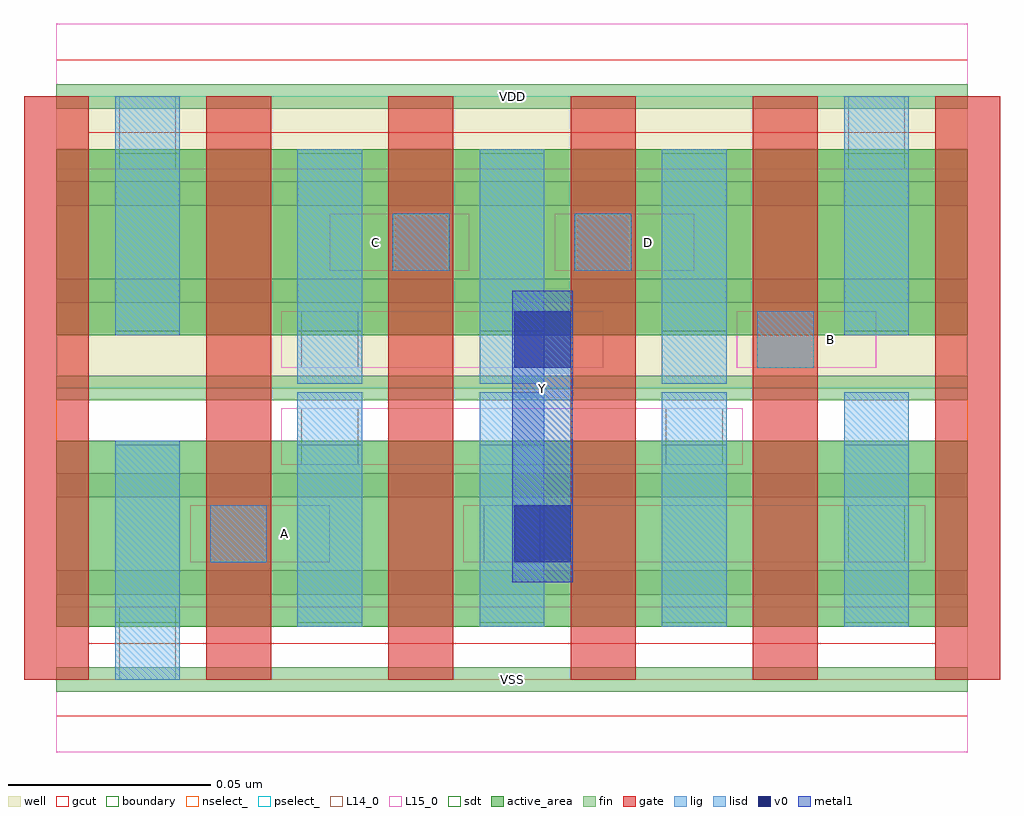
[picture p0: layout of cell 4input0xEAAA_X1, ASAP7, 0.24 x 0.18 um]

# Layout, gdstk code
import gdstk
lib = gdstk.Library(unit=1e-6, precision=2.5e-10)
def R(c, l, rs):  # rectangles x0, y0, x1, y1
    for r in rs: c.add(gdstk.rectangle(r[:2], r[2:], *l))
def A(c, l, x, y, w, h, nx, ny, dx, dy):  # array of equal rectangles
    R(c, l, [(x+i*dx, y+j*dy, x+i*dx+w, y+j*dy+h) for i in range(nx) for j in range(ny)])
def P(c, l, *ps):  # polygons
    for p in ps: c.add(gdstk.Polygon(p, *l))
well = (1, 0)
fin = (2, 0)
gate = (7, 0)
gcut = (10, 0)
active_area = (11, 0)
nselect_ = (12, 0)
pselect_ = (13, 0)
L14_0 = (14, 0)
L15_0 = (15, 0)
lig = (16, 0)
lisd = (17, 0)
v0 = (18, 0)
metal1 = (19, 0)
sdt = (88, 0)
boundary = (100, 0)

c_4input0xeaaa_x1 = lib.new_cell('4input0xEAAA_X1')
R(c_4input0xeaaa_x1, well, [(0,0.072,0.225,0.144)])
A(c_4input0xeaaa_x1, fin, 0, -0.003, 0.225, 0.006, 1, 7, 0, 0.024)
A(c_4input0xeaaa_x1, gate, -0.008, 0, 0.016, 0.144, 6, 1, 0.045, 0)
P(c_4input0xeaaa_x1, gcut, [(0,-0.009),(0,0),(-0.008,0),(-0.008,0.135),(0.008,0.135),(0.008,0.009),(0.217,0.009),(0.217,0.135),(-0.008,0.135),(-0.008,0.144),(0,0.144),(0,0.153),(0.225,0.153),(0.225,0.144),(0.233,0.144),(0.233,0),(0.225,0),(0.225,-0.009)])
R(c_4input0xeaaa_x1, active_area, [(0,0.013,0.225,0.059), (0,0.085,0.225,0.131)])
R(c_4input0xeaaa_x1, nselect_, [(0,0,0.225,0.072)])
R(c_4input0xeaaa_x1, pselect_, [(0,0.072,0.225,0.144)])
R(c_4input0xeaaa_x1, L14_0, [(0.0155,0,0.0295,0.018), (0.038,0.029,0.052,0.043), (0.1055,0.029,0.1195,0.043), (0.1955,0.029,0.2095,0.043), (0.0605,0.053,0.0745,0.067), (0.1505,0.053,0.1645,0.067), (0.0605,0.077,0.0745,0.091), (0.173,0.077,0.187,0.091), (0.083,0.101,0.097,0.115), (0.128,0.101,0.142,0.115), (0.0155,0.126,0.0295,0.144), (0.1955,0.126,0.2095,0.144)])
R(c_4input0xeaaa_x1, L15_0, [(0,-0.018,0.225,0.018), (0.033,0.029,0.0675,0.043), (0.1005,0.029,0.2145,0.043), (0.0555,0.053,0.1695,0.067), (0.0555,0.077,0.135,0.091), (0.168,0.077,0.2025,0.091), (0.0675,0.101,0.102,0.115), (0.123,0.101,0.1575,0.115), (0,0.126,0.225,0.162)])
R(c_4input0xeaaa_x1, lig, [(0.038,0.029,0.052,0.043), (0.173,0.077,0.187,0.091), (0.083,0.101,0.097,0.115), (0.128,0.101,0.142,0.115)])
A(c_4input0xeaaa_x1, lisd, 0.0595, 0.013, 0.016, 0.058, 4, 1, 0.045, 0)
A(c_4input0xeaaa_x1, lisd, 0.0595, 0.073, 0.016, 0.058, 3, 1, 0.045, 0)
R(c_4input0xeaaa_x1, lisd, [(0.0145,0,0.0305,0.059), (0.0145,0.085,0.0305,0.144), (0.1945,0.085,0.2105,0.144)])
R(c_4input0xeaaa_x1, v0, [(0.113,0.029,0.127,0.043), (0.113,0.077,0.127,0.091)])
R(c_4input0xeaaa_x1, metal1, [(0.1125,0.024,0.1275,0.096)])
A(c_4input0xeaaa_x1, sdt, 0.0145, 0.014, 0.016, 0.044, 5, 2, 0.045, 0.072)
R(c_4input0xeaaa_x1, boundary, [(0,0,0.225,0.144)])
c_4input0xeaaa_x1.add(gdstk.Label('C', (0.0788,0.108), layer=15, texttype=251))
c_4input0xeaaa_x1.add(gdstk.Label('VSS', (0.1125,0), layer=15, texttype=251))
c_4input0xeaaa_x1.add(gdstk.Label('VDD', (0.1125,0.144), layer=15, texttype=251))
c_4input0xeaaa_x1.add(gdstk.Label('VSS', (0.1125,0), layer=15, texttype=251))
c_4input0xeaaa_x1.add(gdstk.Label('VDD', (0.1125,0.144), layer=15, texttype=251))
c_4input0xeaaa_x1.add(gdstk.Label('D', (0.1462,0.108), layer=15, texttype=251))
c_4input0xeaaa_x1.add(gdstk.Label('VSS', (0.1125,0), layer=15, texttype=251))
c_4input0xeaaa_x1.add(gdstk.Label('VDD', (0.1125,0.144), layer=15, texttype=251))
c_4input0xeaaa_x1.add(gdstk.Label('B', (0.1913,0.084), layer=15, texttype=251))
c_4input0xeaaa_x1.add(gdstk.Label('VSS', (0.1125,0), layer=15, texttype=251))
c_4input0xeaaa_x1.add(gdstk.Label('VDD', (0.1125,0.144), layer=15, texttype=251))
c_4input0xeaaa_x1.add(gdstk.Label('A', (0.0563,0.036), layer=15, texttype=251))
c_4input0xeaaa_x1.add(gdstk.Label('VSS', (0.1125,0), layer=15, texttype=251))
c_4input0xeaaa_x1.add(gdstk.Label('VDD', (0.1125,0.144), layer=15, texttype=251))
c_4input0xeaaa_x1.add(gdstk.Label('VSS', (0.1125,0), layer=3, texttype=251))
c_4input0xeaaa_x1.add(gdstk.Label('VSS', (0.1125,0), layer=3, texttype=251))
c_4input0xeaaa_x1.add(gdstk.Label('VSS', (0.1125,0), layer=3, texttype=251))
c_4input0xeaaa_x1.add(gdstk.Label('VSS', (0.1125,0), layer=3, texttype=251))
c_4input0xeaaa_x1.add(gdstk.Label('VSS', (0.1125,0), layer=3, texttype=251))
c_4input0xeaaa_x1.add(gdstk.Label('VDD', (0.1125,0.144), layer=1, texttype=251))
c_4input0xeaaa_x1.add(gdstk.Label('VDD', (0.1125,0.144), layer=1, texttype=251))
c_4input0xeaaa_x1.add(gdstk.Label('VDD', (0.1125,0.144), layer=1, texttype=251))
c_4input0xeaaa_x1.add(gdstk.Label('VDD', (0.1125,0.144), layer=1, texttype=251))
c_4input0xeaaa_x1.add(gdstk.Label('VDD', (0.1125,0.144), layer=1, texttype=251))
c_4input0xeaaa_x1.add(gdstk.Label('Y', (0.12,0.072), layer=19, texttype=251))

lib.write_gds('4input0xEAAA_X1.gds')
